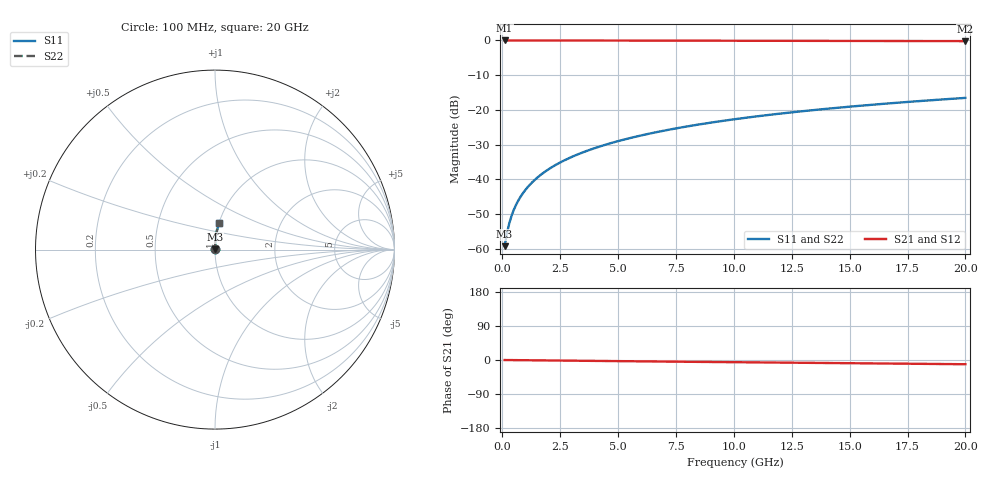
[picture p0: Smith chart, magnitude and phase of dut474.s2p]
! Touchstone file exported from HFSS 2024.1.0
!  File:  C:/UserFiles/LocalFiles/RDL_TSV_Batchsim/temp_RDL_bottom_474_1779686132.aedt
!  Generated:  01:18:00 PM May 25, 2026
!  Design:  RDL_bottom
!  Project:  temp_RDL_bottom_474_1779686132
!  Setup:  Setup1
!  Solution:  Sweep
! Variables:
!  dtsv = 10.80580581um
!  hbump = 3um
!  htsv = 55.26um
!  ldown = 100.26um
!  lrdl = 100um
!  p = 40
!  p1 = 56um
!  rhole = 1um
!  t = 450um
!  tdown = 3.27um
!  trdl = 3.915915916um
!  wdown = 18.75um
!  wrdl = 20um
# GHz S MA R 50.000000
! Terminal data exported
! Port[1] = RDL1_T1
! Port[2] = RDL1_T2
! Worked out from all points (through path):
!   200 points, 100 MHz to 20 GHz, reference 50 ohm
!   highest |S21| = -0.01 dB at 100 MHz (marker M1); lowest = -0.2 dB at 20 GHz (marker M2)
!   group delay of S21, straight-line fit = 1.54 ps
!   lowest |S11| = -59.2 dB at 100 MHz (marker M3), VSWR 1.00, Z = 50.1 + j0.073 ohm
!   |S11| at or under -10 dB: start of sweep to end of sweep
!   |S22| runs from -59.2 to -16.5 dB; largest |S21 - S12| = 3.1e-15
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0.1  0.00109 42.0  0.9992 -0.1  0.9992 -0.1  0.00109 42.0
! Gamma 0 0 0 0
! Port Impedance 50 0 50 0
0.2  0.00167 60.2  0.9992 -0.1  0.9992 -0.1  0.00167 60.2
0.3  0.002321 68.4  0.9991 -0.2  0.9991 -0.2  0.002321 68.4
0.4  0.002988 72.9  0.9991 -0.3  0.9991 -0.3  0.002988 72.9
0.5  0.003661 75.8  0.9991 -0.3  0.9991 -0.3  0.003661 75.8
0.6  0.004336 77.9  0.999 -0.4  0.999 -0.4  0.004336 77.9
0.8  0.005693 80.6  0.999 -0.5  0.999 -0.5  0.005693 80.6
1.1  0.007744 83.1  0.9989 -0.7  0.9989 -0.7  0.007744 83.1
1.5  0.0105 84.9  0.9987 -0.9  0.9987 -0.9  0.0105 84.9
1.8  0.01258 85.8  0.9986 -1.1  0.9986 -1.1  0.01258 85.8
2.1  0.01468 86.4  0.9984 -1.3  0.9984 -1.3  0.01468 86.4
2.7  0.0189 87.2  0.998 -1.7  0.998 -1.7  0.0189 87.2
3.5  0.02459 87.8  0.9974 -2.1  0.9974 -2.1  0.02459 87.8
4.2  0.02964 88.1  0.9967 -2.5  0.9967 -2.5  0.02964 88.1
5  0.03549 88.2  0.9959 -3.0  0.9959 -3.0  0.03549 88.2
5.9  0.04214 88.2  0.995 -3.5  0.995 -3.5  0.04214 88.2
6.8  0.04886 88.0  0.9939 -4.0  0.9939 -4.0  0.04886 88.0
8.3  0.06019 87.5  0.9922 -4.9  0.9922 -4.9  0.06019 87.5
10.1  0.07389 86.7  0.99 -5.9  0.99 -5.9  0.07389 86.7
13.4  0.09907 84.9  0.9859 -7.7  0.9859 -7.7  0.09907 84.9
16.7  0.1241 82.9  0.9817 -9.4  0.9817 -9.4  0.1241 82.9
20  0.1488 81.0  0.9773 -11.1  0.9773 -11.1  0.1488 81.0
